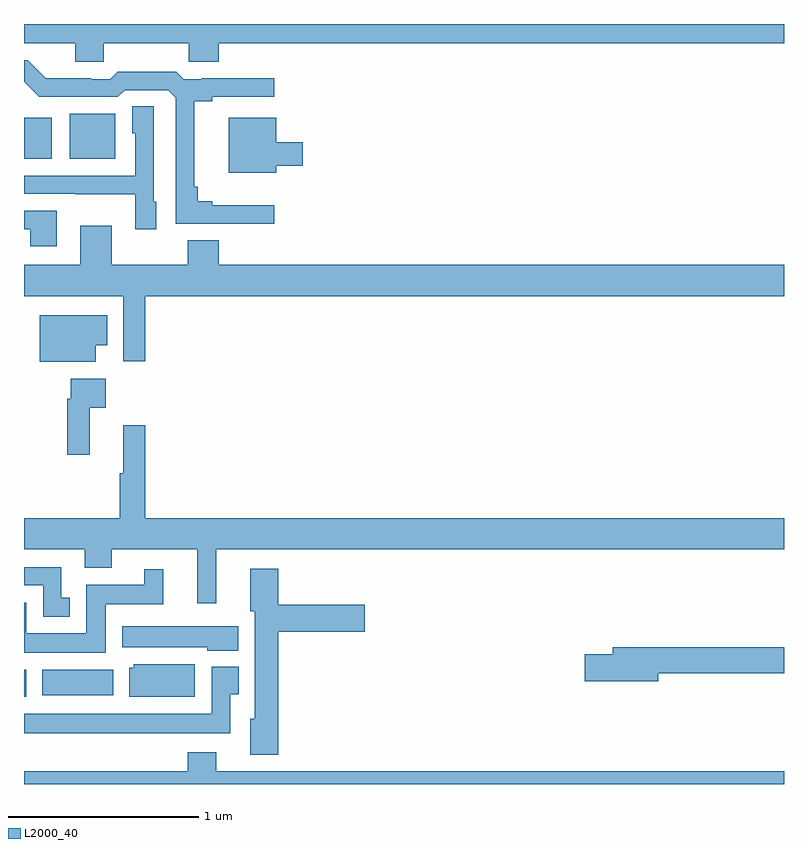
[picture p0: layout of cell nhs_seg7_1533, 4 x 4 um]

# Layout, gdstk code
import gdstk
lib = gdstk.Library(unit=1e-6, precision=1e-09)
def R(c, l, rs):  # rectangles x0, y0, x1, y1
    for r in rs: c.add(gdstk.rectangle(r[:2], r[2:], *l))
def P(c, l, *ps):  # polygons
    for p in ps: c.add(gdstk.Polygon(p, *l))
L2000_40 = (2000, 40)

nhs_seg7_1533 = lib.new_cell('nhs_seg7_1533')
R(nhs_seg7_1533, L2000_40, [(215,1046.459,215.011,1046.602), (215.096,1046.468,215.47,1046.602), (215,1049.291,215.146,1049.506), (215.24,1049.291,215.479,1049.527)])
P(nhs_seg7_1533, L2000_40, [(215.421,1049.9),(215.866,1049.9),(215.866,1049.802),(216.026,1049.802),(216.026,1049.9),(219,1049.9),(219,1050),(215,1050),(215,1049.9),(215.27,1049.9),(215.27,1049.802),(215.421,1049.802)],
  [(216.316,1049.047),(215.992,1049.047),(215.992,1049.066),(215.915,1049.066),(215.915,1049.143),(215.897,1049.143),(215.897,1049.594),(215.992,1049.594),(215.992,1049.616),(216.316,1049.616),(216.316,1049.714),(215.935,1049.714),(215.935,1049.709),(215.841,1049.709),(215.801,1049.749),(215.494,1049.749),(215.454,1049.709),(215.354,1049.709),(215.354,1049.714),(215.114,1049.714),(215.019,1049.808),(215,1049.808),(215,1049.696),(215.079,1049.616),(215.493,1049.616),(215.529,1049.652),(215.76,1049.652),(215.799,1049.613),(215.799,1048.95),(216.316,1048.95)],
  [(215.695,1049.064),(215.682,1049.064),(215.682,1049.567),(215.57,1049.567),(215.57,1049.424),(215.586,1049.424),(215.586,1049.202),(215,1049.202),(215,1049.106),(215.269,1049.106),(215.269,1049.105),(215.586,1049.105),(215.586,1048.92),(215.695,1048.92)],
  [(216.328,1049.255),(216.466,1049.255),(216.466,1049.377),(216.328,1049.377),(216.328,1049.506),(216.077,1049.506),(216.077,1049.216),(216.328,1049.216)],
  [(215.173,1049.016),(215,1049.016),(215,1048.92),(215.033,1048.92),(215.033,1048.83),(215.173,1048.83)],
  [(215.639,1048.568),(219,1048.568),(219,1048.732),(216.025,1048.732),(216.025,1048.861),(215.861,1048.861),(215.861,1048.732),(215.461,1048.732),(215.461,1048.939),(215.297,1048.939),(215.297,1048.732),(215,1048.732),(215,1048.568),(215.523,1048.568),(215.523,1048.224),(215.639,1048.224)],
  [(215.377,1048.31),(215.438,1048.31),(215.438,1048.468),(215.084,1048.468),(215.084,1048.223),(215.377,1048.223)],
  [(215.345,1047.98),(215.431,1047.98),(215.431,1048.132),(215.247,1048.132),(215.247,1048.028),(215.227,1048.028),(215.227,1047.732),(215.345,1047.732)],
  [(216.011,1047.236),(219,1047.236),(219,1047.4),(215.639,1047.4),(215.639,1047.889),(215.522,1047.889),(215.522,1047.636),(215.503,1047.636),(215.503,1047.4),(215,1047.4),(215,1047.236),(215.321,1047.236),(215.321,1047.137),(215.461,1047.137),(215.461,1047.236),(215.912,1047.236),(215.912,1046.952),(216.011,1046.952)],
  [(215.242,1046.979),(215.196,1046.979),(215.196,1047.141),(215,1047.141),(215,1047.045),(215.1,1047.045),(215.1,1046.879),(215.242,1046.879)],
  [(216.338,1046.801),(216.793,1046.801),(216.793,1046.943),(216.338,1046.943),(216.338,1047.133),(216.191,1047.133),(216.191,1046.91),(216.215,1046.91),(216.215,1046.343),(216.191,1046.343),(216.191,1046.153),(216.338,1046.153)],
  [(215.431,1046.945),(215.732,1046.945),(215.732,1047.13),(215.633,1047.13),(215.633,1047.049),(215.327,1047.049),(215.327,1046.794),(215.011,1046.794),(215.011,1046.955),(215,1046.955),(215,1046.69),(215.431,1046.69)],
  [(216.127,1046.83),(215.516,1046.83),(215.516,1046.72),(215.964,1046.72),(215.964,1046.702),(216.127,1046.702)],
  [(218.338,1046.584),(219,1046.584),(219,1046.72),(218.099,1046.72),(218.099,1046.684),(217.95,1046.684),(217.95,1046.542),(218.338,1046.542)],
  [(215.899,1046.629),(215.577,1046.629),(215.577,1046.613),(215.555,1046.613),(215.555,1046.459),(215.899,1046.459)],
  [(216.085,1046.473),(216.13,1046.473),(216.13,1046.617),(215.988,1046.617),(215.988,1046.371),(215,1046.371),(215,1046.267),(216.085,1046.267)],
  [(219,1046.068),(216.013,1046.068),(216.013,1046.167),(215.861,1046.167),(215.861,1046.068),(215,1046.068),(215,1046),(219,1046)])

lib.write_gds('nhs_seg7_1533.gds')
